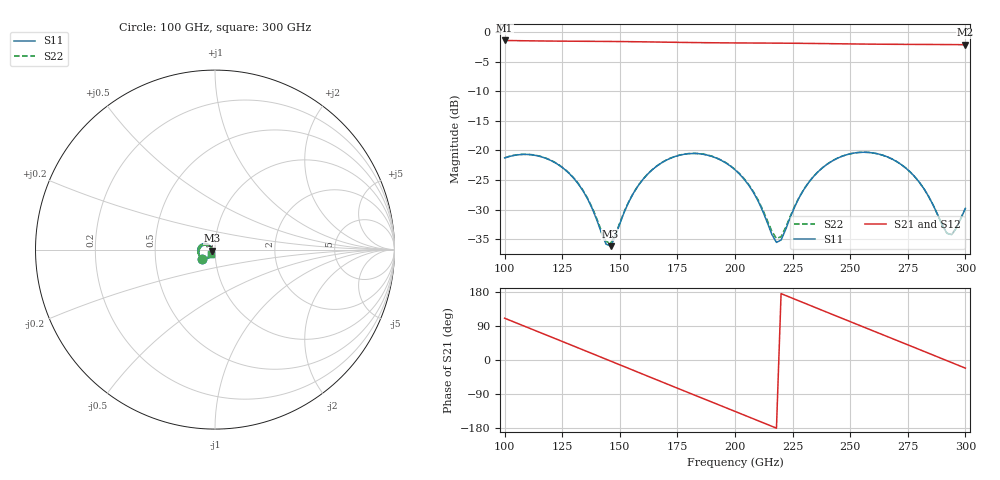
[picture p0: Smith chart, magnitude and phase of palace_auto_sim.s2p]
#  GHZ S DB R 50
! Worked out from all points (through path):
!   101 points, 100 GHz to 300 GHz, reference 50 ohm
!   highest |S21| = -1.39 dB at 100 GHz (marker M1); lowest = -2.1 dB at 300 GHz (marker M2)
!   group delay of S21, straight-line fit = 6.83 ps
!   lowest |S11| = -36.2 dB at 146 GHz (marker M3), VSWR 1.03, Z = 48.6 - j0.528 ohm
!   |S11| at or under -10 dB: start of sweep to end of sweep
!   |S22| runs from -35.7 to -20.3 dB; largest |S21 - S12| = 9.8e-14
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100  -21.27 -144.8  -1.39 110.3  -1.39 110.3  -21.25 -144.3
116  -21.08 -179.8  -1.48 71.1  -1.48 71.1  -21.05 -179.2
126  -23.18 160.0  -1.51 46.5  -1.51 46.5  -23.13 160.8
134  -26.82 148.2  -1.53 26.8  -1.53 26.8  -26.72 149.3
144  -35.84 176.3  -1.56 2.1  -1.56 2.1  -35.38 177.0
146  -36.19 -159.5  -1.56 -2.8  -1.56 -2.8  -35.74 -160.2
156  -27.17 -123.2  -1.60 -27.5  -1.60 -27.5  -27.13 -124.0
168  -22.13 -141.6  -1.67 -57.2  -1.67 -57.2  -22.10 -141.7
184  -20.54 -174.5  -1.76 -96.4  -1.76 -96.4  -20.51 -174.2
200  -23.27 154.1  -1.81 -135.6  -1.81 -135.6  -23.20 154.9
208  -27.11 144.1  -1.83 -155.3  -1.83 -155.3  -26.97 145.3
218  -35.55 -178.7  -1.85 -179.9  -1.85 -179.9  -34.89 -178.9
220  -35.15 -156.2  -1.85 175.2  -1.85 175.2  -34.58 -158.3
228  -27.88 -127.5  -1.88 155.4  -1.88 155.4  -27.80 -129.4
234  -24.45 -132.8  -1.90 140.6  -1.90 140.6  -24.42 -134.1
244  -21.40 -150.0  -1.95 116.0  -1.95 116.0  -21.39 -150.9
252  -20.42 -165.8  -1.99 96.4  -1.99 96.4  -20.41 -166.4
268  -21.41 162.7  -2.04 57.2  -2.04 57.2  -21.41 162.3
280  -25.38 144.4  -2.06 27.8  -2.06 27.8  -25.37 144.0
292  -34.02 171.4  -2.09 -1.8  -2.09 -1.8  -34.00 171.0
294  -34.25 -169.7  -2.09 -6.7  -2.09 -6.7  -34.24 -170.2
300  -29.80 -137.3  -2.11 -21.5  -2.11 -21.5  -29.80 -137.8
